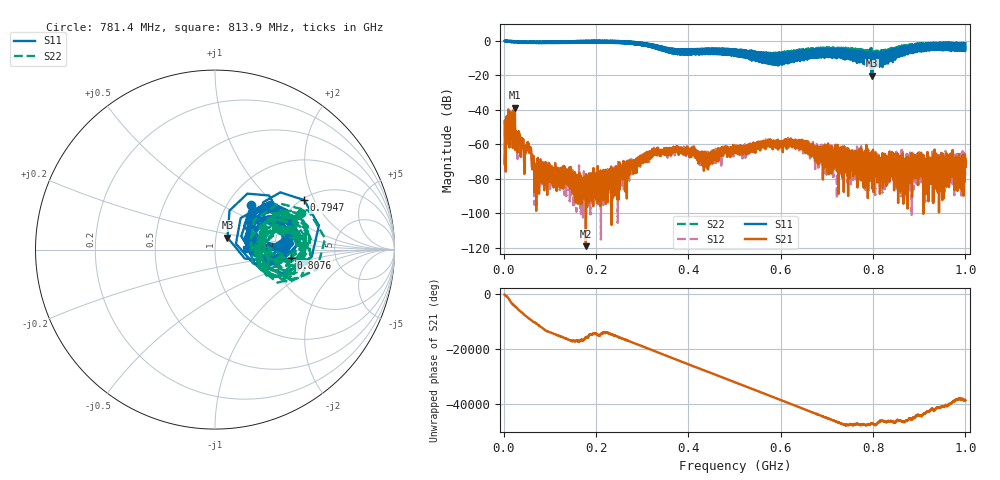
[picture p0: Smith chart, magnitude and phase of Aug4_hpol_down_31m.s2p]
!Keysight Technologies N9923A: A.12.45
!Date: Tuesday, 05 August 2025 18:42:40
!Timezone: (UTC+08:00) Kuala Lumpur, Singapore
!Model: N9923A
!Serial: MY61181427
!GPS Latitude:
!GPS Longitude:
!GPS TimeStamp: 0001-01-01 00:00:00Z
!GPS Seconds Since Last Read: 0
!CHECKSUM:1624133780
!Correction: S11(ON U)S21(ON U)S12(ON U)S22(ON U)
!S2P File: Measurements:S11,S21,S12,S22:
# Hz S DB R 50
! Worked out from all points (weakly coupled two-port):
!   4001 points, 2 MHz to 1 GHz, reference 50 ohm
!   highest |S21| = -38.82 dB at 23.96 MHz (marker M1); lowest = -119.1 dB at 177.9 MHz (marker M2)
!   lowest |S11| = -20.3 dB at 796.9 MHz (marker M3), VSWR 1.21, Z = 56.9 + j7.74 ohm
!   |S11| at or under -10 dB: 545.6486 MHz to 546.179 MHz (530.3 kHz wide, 0.0971 % of centre); 552.3395 MHz to 552.9469 MHz (607.4 kHz wide, 0.11 % of centre); 584.2752 MHz to 585.1052 MHz (830 kHz wide, 0.142 % of centre)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
!   |S22| runs from -14.1 to 0.1 dB; largest |S21 - S12| = 0.001
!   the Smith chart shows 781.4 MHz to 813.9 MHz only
!   S11 on the Smith chart (normalised r, x): 781.4 MHz: 1.29, +0.71; 794.7 MHz: 2.05, +1.68; 807.6 MHz: 2.45, -0.28; 813.9 MHz: 1.42, +0.01
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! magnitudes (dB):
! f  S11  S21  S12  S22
! 2 MHz  -0.1  -71.6  -70.9  -0.1
! 9.984 MHz  -0.1  -40.0  -39.9  -0.2
! 23.96 MHz  -0.9  -38.8  -39.0  -0.9
! 41.67 MHz  -0.6  -59.4  -59.4  -0.5
! 55.14 MHz  -0.5  -63.7  -62.7  -0.6
! 71.36 MHz  -1.2  -76.2  -76.9  -1.2
! 168.4 MHz  -1.2  -82.0  -80.1  -1.0
! 177.9 MHz  -0.2  -119.1  -85.4  0.0
! 232.3 MHz  -1.3  -81.5  -80.3  -1.0
! 334.8 MHz  -4.0  -64.6  -63.7  -4.6
! 441.6 MHz  -7.7  -70.3  -70.1  -7.2
! 501 MHz  -6.0  -63.4  -62.0  -6.8
! 623.3 MHz  -11.1  -58.5  -58.4  -7.1
! 667.4 MHz  -8.9  -64.3  -60.5  -8.5
! 781.4 MHz  -9.9  -69.1  -69.6  -5.7
! 794.7 MHz  -4.9  -68.0  -76.1  -6.7
! 796.9 MHz  -20.3  -64.4  -74.1  -7.1
! 807.6 MHz  -7.4  -67.4  -69.0  -11.3
! 813.9 MHz  -15.2  -71.0  -76.2  -9.0
! 833.8 MHz  -8.8  -69.5  -68.9  -5.5
! 911.4 MHz  -4.7  -75.2  -70.4  -2.0
! 1 GHz  -1.5  -68.6  -70.7  -2.9
